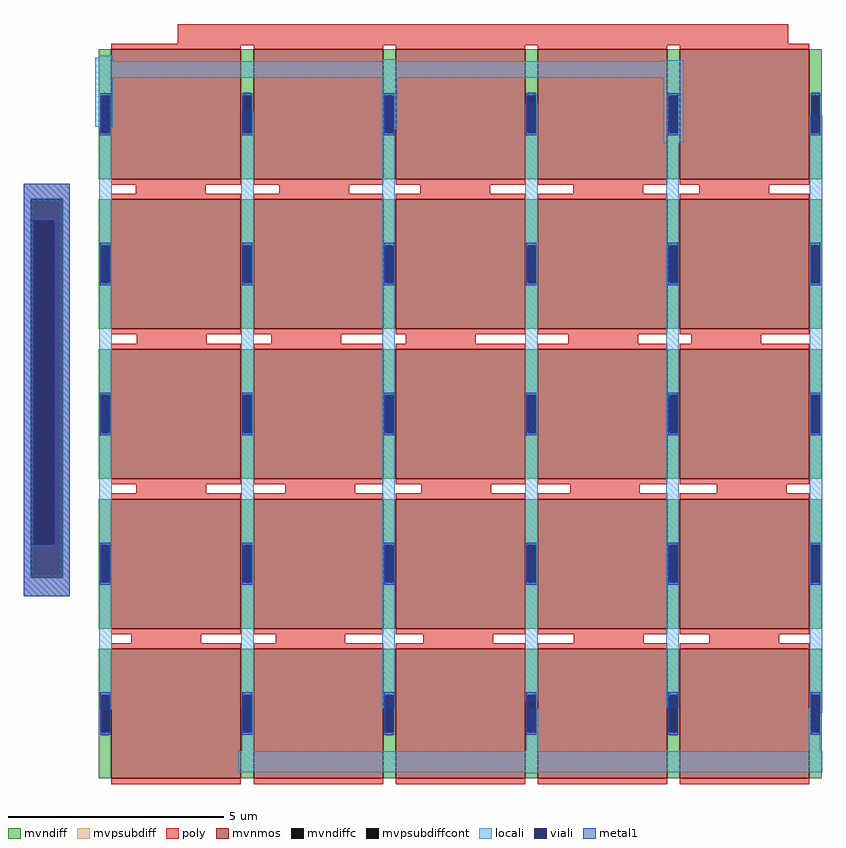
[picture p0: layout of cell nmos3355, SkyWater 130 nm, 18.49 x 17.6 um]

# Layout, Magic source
magic
tech sky130A
<< mvpsubdiff >>
rect -174 1355 -68 1390
rect -174 478 -158 1355
rect -84 478 -68 1355
rect -174 435 -68 478
<< mvpsubdiffcont >>
rect -158 478 -84 1355
<< poly >>
rect 182 1711 1596 1760
rect 85 1359 247 1392
rect 418 1362 580 1395
rect 744 1362 906 1395
rect 1099 1362 1261 1395
rect 1390 1362 1552 1395
rect 88 1014 250 1047
rect 399 1014 561 1047
rect 711 1010 873 1043
rect 1087 1012 1249 1045
rect 1372 1013 1534 1046
rect 86 669 248 702
rect 432 670 594 703
rect 747 666 909 699
rect 1091 669 1253 702
rect 1431 664 1593 697
rect 75 322 237 355
rect 409 320 571 353
rect 751 317 913 350
rect 1100 321 1262 354
rect 1413 318 1575 351
<< locali >>
rect 1 1682 32 1687
rect -9 1674 32 1682
rect 660 1676 691 1678
rect 656 1674 691 1676
rect 1307 1674 1354 1676
rect -9 1636 1354 1674
rect -9 1522 32 1636
rect -174 1355 -68 1390
rect -174 478 -158 1355
rect -84 478 -68 1355
rect -174 435 -68 478
rect 1 173 30 1522
rect 330 175 359 1558
rect 656 1516 691 1636
rect 656 175 685 1516
rect 987 193 1016 1576
rect 1307 1485 1354 1636
rect 1314 177 1343 1485
rect 1646 176 1675 1547
rect 331 76 358 175
rect 990 76 1017 174
rect 1644 164 1675 176
rect 1644 76 1671 164
rect 323 27 1675 76
rect 990 25 1017 27
<< viali >>
rect -151 554 -104 1306
<< metal1 >>
rect -174 1306 -68 1390
rect -174 554 -151 1306
rect -104 554 -68 1306
rect -174 435 -68 554
use sky130_fd_pr__nfet_g5v0d10v5_QWH9RS  sky130_fd_pr__nfet_g5v0d10v5_QWH9RS_0
transform 1 0 837 0 1 857
box -837 -857 837 857
<< end >>

# cell sky130_fd_pr__nfet_g5v0d10v5_QWH9RS: kit device sky130_fd_pr__nfet_g5v0d10v5, w 3 l 3 m 5 nf 5 diffcov 30 polycov 100 guard 0 glc 0 grc 0 gtc 0 gbc 0 tbcov 100 rlcov 100 topc 0 botc 0 poverlap 0 doverlap 1 lmin 0.50 wmin 0.42 compatible {sky130_fd_pr__nfet_01v8 sky130_fd_pr__nfet_01v8_lvt sky130_fd_bs_flash__special_sonosfet_star sky130_fd_pr__nfet_g5v0d10v5 sky130_fd_pr__nfet_05v0_nvt sky130_fd_pr__nfet_03v3_nvt} full_metal 0 viasrc 30 viadrn 30 viagate 100 viagb 0 viagr 0 viagl 0 viagt 0
